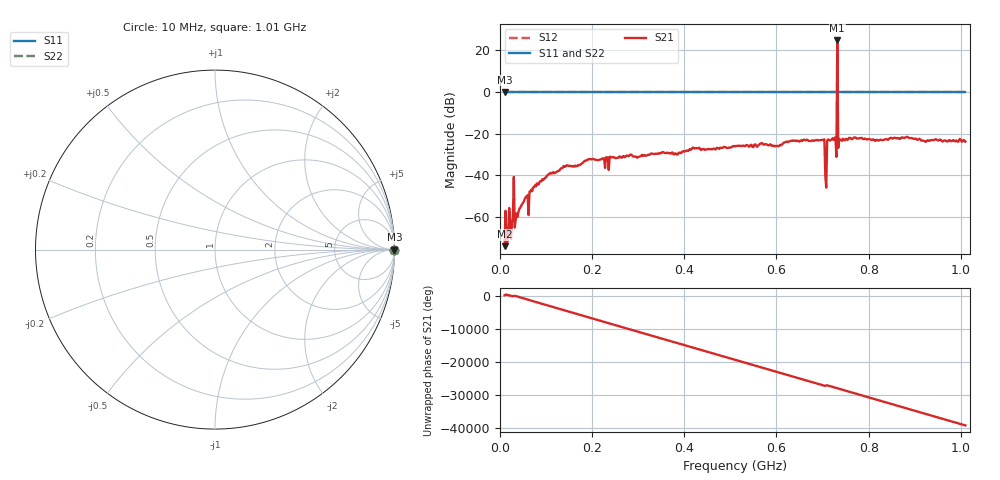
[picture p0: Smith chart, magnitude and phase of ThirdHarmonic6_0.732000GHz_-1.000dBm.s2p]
! 8/16/2025 12:29:53 AM
! C:\ANRITSUVNA\TEMP\TEMP.S2P
! CHANNEL.1
! TR.MEASUREMENT
! RAW.DATA
! RF.CORRECTION.OFF
! AVERAGING.OFF
! IF.BANDWIDTH: 5KHZ
! SWEEPTYPE:  FREQ.SWEEP(Linear)
! Reference Plane Port Info
! PORT:  PORT1  PORT2
! DISTANCE:  0  m  0  m
! TIME:  0  s  0  s
! PHASE.OFFSET:  0  deg.  0  deg.
! LOSS:  0  dB  0  dB
! REF.LOSS:  0  dB  0  dB
! REF.FREQ:  0  Hz  0  Hz
! Power Info
! POWER:  -20  dBm  -20  dBm
! EFF.POWER:  -20  dBm  -20  dBm
! SOURCE.ATTEN:  0  dB  0  dB
! TEST.ATTEN:  0  dB  0  dB
# GHZ S RI R 50.0
! FREQ.GHZ  S11RE  S11IM  S21RE  S21IM  S12RE  S12IM  S22RE  S22IM
!; PortSelection: Port_12
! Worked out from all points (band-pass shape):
!   501 points, 10 MHz to 1.01 GHz, reference 50 ohm
!   highest |S21| = 24.77 dB at 732 MHz (marker M1); lowest = -74.0 dB at 10 MHz (marker M2)
!   |S21| within 3 dB of the highest: 731.8927 MHz to 732.1163 MHz (223.6 kHz wide, 0.0305 % of centre)
!   lowest |S11| = 0.0 dB at 10 MHz (marker M3)
!   |S11| at or under -10 dB: nowhere
!   |S22| runs from 0.0 to 0.0 dB; largest |S21 - S12| = 18
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0.01  1 0  -0.000187 6.91e-05  1 0  1 0
0.032  1 0  0.000522 -0.000197  1 0  1 0
0.036  1 0  -0.00109 -0.000555  1 0  1 0
0.052  1 0  -0.000413 -0.00234  1 0  1 0
0.076  1 0  0.00574 -0.000708  1 0  1 0
0.142  1 0  -0.0157 -0.00432  1 0  1 0
0.178  1 0  -0.0192 -0.00125  1 0  1 0
0.344  1 0  0.0278 -0.0178  1 0  1 0
0.51  1 0  -0.0296 0.0398  1 0  1 0
0.678  1 0  -0.0672 -0.0174  1 0  1 0
0.7  1 0  0.065 0.0291  1 0  1 0
0.704  1 0  -0.0539 -0.0499  1 0  1 0
0.706  1 0  -0.00957 -0.00222  1 0  1 0
0.71  1 0  0.065 -0.0198  1 0  1 0
0.714  1 0  -0.071 0.00472  1 0  1 0
0.726  1 0  0.0356 0.0674  1 0  1 0
0.728  1 0  0.0764 -0.0314  1 0  1 0
0.732  1 0  -16.25 -5.949  1 0  1 0
0.736  1 0  0.0749 0.00423  1 0  1 0
0.738  1 0  0.0174 -0.0698  1 0  1 0
0.844  1 0  0.0672 -0.0313  1 0  1 0
1.01  1 0  -0.0161 0.0626  1 0  1 0
